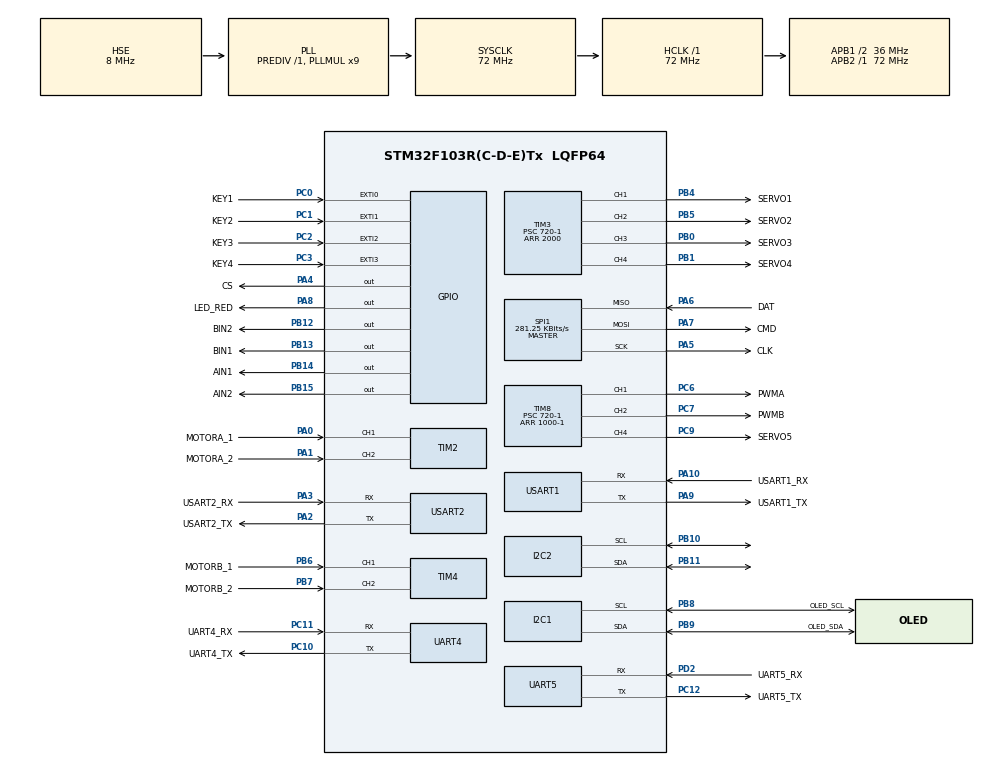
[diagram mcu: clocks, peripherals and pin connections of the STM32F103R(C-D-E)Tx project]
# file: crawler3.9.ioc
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Mcu.Family=STM32F1
Mcu.Name=STM32F103R(C-D-E)Tx
Mcu.Package=LQFP64
NVIC.PriorityGroup=NVIC_PRIORITYGROUP_4
NVIC.TIM1_TRG_COM_IRQn=true\:0\:0\:false\:false\:true\:true\:true\:true
NVIC.TIM1_UP_IRQn=true\:0\:0\:false\:false\:true\:true\:true\:true
NVIC.TIM2_IRQn=true\:0\:0\:false\:false\:true\:true\:true\:true
NVIC.TIM3_IRQn=true\:0\:0\:false\:false\:true\:true\:true\:true
NVIC.TIM4_IRQn=true\:0\:0\:false\:false\:true\:true\:true\:true
NVIC.TIM8_TRG_COM_IRQn=true\:0\:0\:false\:false\:true\:true\:true\:true
NVIC.TIM8_UP_IRQn=true\:0\:0\:false\:false\:true\:true\:true\:true
NVIC.USART1_IRQn=true\:0\:0\:false\:false\:true\:true\:true\:true
PA0-WKUP.GPIO_Label=MOTORA_1
PA0-WKUP.GPIO_PuPd=GPIO_PULLUP
PA0-WKUP.Signal=S_TIM2_CH1_ETR
PA1.GPIO_Label=MOTORA_2
PA1.GPIO_PuPd=GPIO_PULLUP
PA1.Signal=S_TIM2_CH2
PA10.GPIO_Label=USART1_RX
PA10.Mode=Asynchronous
PA10.Signal=USART1_RX
PA13.Mode=Serial_Wire
PA13.Signal=SYS_JTMS-SWDIO
PA14.Mode=Serial_Wire
PA14.Signal=SYS_JTCK-SWCLK
PA2.GPIO_Label=USART2_TX
PA2.Mode=Asynchronous
PA2.Signal=USART2_TX
PA3.GPIO_Label=USART2_RX
PA3.Mode=Asynchronous
PA3.Signal=USART2_RX
PA4.GPIO_Label=CS
PA4.Signal=GPIO_Output
PA5.GPIO_Label=CLK
PA5.Mode=Full_Duplex_Master
PA5.Signal=SPI1_SCK
PA6.GPIO_Label=DAT
PA6.Mode=Full_Duplex_Master
PA6.Signal=SPI1_MISO
PA7.GPIO_Label=CMD
PA7.Mode=Full_Duplex_Master
PA7.Signal=SPI1_MOSI
PA8.GPIO_Label=LED_RED
PA8.Signal=GPIO_Output
PA9.GPIO_Label=USART1_TX
PA9.Mode=Asynchronous
PA9.Signal=USART1_TX
PB0.GPIO_Label=SERVO3
PB0.Signal=S_TIM3_CH3
PB1.GPIO_Label=SERVO4
PB1.Signal=S_TIM3_CH4
PB10.Mode=I2C
PB10.Signal=I2C2_SCL
PB11.Mode=I2C
PB11.Signal=I2C2_SDA
PB12.GPIO_Label=BIN2
PB12.Signal=GPIO_Output
PB13.GPIO_Label=BIN1
PB13.Signal=GPIO_Output
PB14.GPIO_Label=AIN1
PB14.Signal=GPIO_Output
PB15.GPIO_Label=AIN2
PB15.Signal=GPIO_Output
PB4.GPIO_Label=SERVO1
PB4.Signal=S_TIM3_CH1
PB5.GPIO_Label=SERVO2
PB5.Signal=S_TIM3_CH2
PB6.GPIO_Label=MOTORB_1
PB6.GPIO_PuPd=GPIO_PULLUP
PB6.Signal=S_TIM4_CH1
PB7.GPIO_Label=MOTORB_2
PB7.GPIO_PuPd=GPIO_PULLUP
PB7.Signal=S_TIM4_CH2
PB8.GPIO_Label=OLED_SCL
PB8.Mode=I2C
PB8.Signal=I2C1_SCL
PB9.GPIO_Label=OLED_SDA
PB9.Mode=I2C
PB9.Signal=I2C1_SDA
PC0.GPIO_Label=KEY1
PC0.GPIO_PuPd=GPIO_PULLUP
PC0.Signal=GPXTI0
PC1.GPIO_Label=KEY2
PC1.GPIO_ModeDefaultEXTI=GPIO_MODE_IT_RISING
PC1.GPIO_PuPd=GPIO_PULLUP
PC1.Signal=GPXTI1
PC10.GPIO_Label=UART4_TX
PC10.Mode=Asynchronous
PC10.Signal=UART4_TX
PC11.GPIO_Label=UART4_RX
PC11.Mode=Asynchronous
PC11.Signal=UART4_RX
PC12.GPIO_Label=UART5_TX
PC12.Mode=Asynchronous
PC12.Signal=UART5_TX
PC2.GPIO_Label=KEY3
PC2.GPIO_PuPd=GPIO_PULLUP
PC2.Signal=GPXTI2
PC3.GPIO_Label=KEY4
PC3.GPIO_PuPd=GPIO_PULLUP
PC3.Signal=GPXTI3
PC6.GPIO_Label=PWMA
PC6.Signal=S_TIM8_CH1
PC7.GPIO_Label=PWMB
PC7.Signal=S_TIM8_CH2
PC9.GPIO_Label=SERVO5
PC9.Signal=S_TIM8_CH4
PD0-OSC_IN.Mode=HSE-External-Oscillator
PD0-OSC_IN.Signal=RCC_OSC_IN
PD1-OSC_OUT.Mode=HSE-External-Oscillator
PD1-OSC_OUT.Signal=RCC_OSC_OUT
PD2.GPIO_Label=UART5_RX
PD2.Mode=Asynchronous
PD2.Signal=UART5_RX
ProjectManager.HeapSize=0x200
ProjectManager.StackSize=0x400
ProjectManager.TargetToolchain=MDK-ARM V5.32
RCC.AHBFreq_Value=72000000
RCC.APB1CLKDivider=RCC_HCLK_DIV2
RCC.APB1Freq_Value=36000000
RCC.APB1TimFreq_Value=72000000
RCC.APB2Freq_Value=72000000
RCC.APB2TimFreq_Value=72000000
RCC.HCLKFreq_Value=72000000
RCC.PLLMUL=RCC_PLL_MUL9
RCC.PLLSourceVirtual=RCC_PLLSOURCE_HSE
RCC.SYSCLKFreq_VALUE=72000000
RCC.SYSCLKSource=RCC_SYSCLKSOURCE_PLLCLK
RCC.USBFreq_Value=72000000
SH.S_TIM2_CH1_ETR.0=TIM2_CH1,Encoder_Interface
SH.S_TIM2_CH2.0=TIM2_CH2,Encoder_Interface
SH.S_TIM3_CH1.0=TIM3_CH1,PWM Generation1 CH1
SH.S_TIM3_CH2.0=TIM3_CH2,PWM Generation2 CH2
SH.S_TIM3_CH3.0=TIM3_CH3,PWM Generation3 CH3
SH.S_TIM3_CH4.0=TIM3_CH4,PWM Generation4 CH4
SH.S_TIM4_CH1.0=TIM4_CH1,Encoder_Interface
SH.S_TIM4_CH2.0=TIM4_CH2,Encoder_Interface
SH.S_TIM8_CH1.0=TIM8_CH1,PWM Generation1 CH1
SH.S_TIM8_CH2.0=TIM8_CH2,PWM Generation2 CH2
SH.S_TIM8_CH4.0=TIM8_CH4,PWM Generation4 CH4
SPI1.BaudRatePrescaler=SPI_BAUDRATEPRESCALER_256
SPI1.CLKPolarity=SPI_POLARITY_HIGH
SPI1.CalculateBaudRate=281.25 KBits/s
SPI1.Direction=SPI_DIRECTION_2LINES
SPI1.FirstBit=SPI_FIRSTBIT_LSB
SPI1.Mode=SPI_MODE_MASTER
SPI1.VirtualType=VM_MASTER
TIM1.Period=1000
TIM1.Prescaler=72-1
TIM3.Channel-PWM\ Generation1\ CH1=TIM_CHANNEL_1
TIM3.Channel-PWM\ Generation2\ CH2=TIM_CHANNEL_2
TIM3.Channel-PWM\ Generation3\ CH3=TIM_CHANNEL_3
TIM3.Channel-PWM\ Generation4\ CH4=TIM_CHANNEL_4
TIM3.Period=2000
TIM3.Prescaler=720-1
TIM8.Channel-PWM\ Generation1\ CH1=TIM_CHANNEL_1
TIM8.Channel-PWM\ Generation2\ CH2=TIM_CHANNEL_2
TIM8.Channel-PWM\ Generation4\ CH4=TIM_CHANNEL_4
TIM8.Period=1000-1
TIM8.Prescaler=720-1
UART4.VirtualMode=Asynchronous
UART5.VirtualMode=Asynchronous
USART1.VirtualMode=VM_ASYNC
USART2.VirtualMode=VM_ASYNC
VP_TIM1_VS_ClockSourceINT.Mode=Internal
VP_TIM3_VS_ClockSourceINT.Mode=Internal
VP_TIM8_VS_ClockSourceINT.Mode=Internal
board=custom

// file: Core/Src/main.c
/* USER CODE BEGIN Header */
/**
  ******************************************************************************
  * @file           : main.c
  * @brief          : Main program body
  ******************************************************************************
  * @attention
  *
  * Copyright (c) 2024 STMicroelectronics.
  * All rights reserved.
  *
  * This software is licensed under terms that can be found in the LICENSE file
  * in the root directory of this software component.
  * If no LICENSE file comes with this software, it is provided AS-IS.
  *
  ******************************************************************************
  */
/* USER CODE END Header */
#include "main.h"
#include "i2c.h"
#include "spi.h"
#include "tim.h"
#include "usart.h"
#include "gpio.h"

void SystemClock_Config(void);

int main(void)
{

  /* MCU Configuration--------------------------------------------------------*/

  /* Reset of all peripherals, Initializes the Flash interface and the Systick. */
  HAL_Init();

  /* Configure the system clock */
  SystemClock_Config();

  /* USER CODE BEGIN SysInit */
//	int alg_Set[3] = {45,-25,0};
	int alg_Set[3] = {-145,200,0};
  /* USER CODE END SysInit */

  /* Initialize all configured peripherals */
  MX_GPIO_Init();
  MX_I2C1_Init();
  MX_SPI1_Init();
  MX_TIM1_Init();
  MX_TIM2_Init();
  MX_TIM3_Init();
  MX_TIM4_Init();
  MX_UART4_Init();
  MX_UART5_Init();
  MX_USART1_UART_Init();
  MX_USART2_UART_Init();
  MX_TIM8_Init();
  MX_I2C2_Init();
  /* USER CODE BEGIN 2 */
	HAL_TIM_Encoder_Start(&htim2, TIM_CHANNEL_ALL);
	HAL_TIM_Encoder_Start(&htim4, TIM_CHANNEL_ALL);

	OLED_Init();  //初始化OLED
	usart1_Init();
//KEY_EXIT_Init();											//板子设计问题

	PID_Param_Init();
//	alg_Init();

	PCA_MG9XX_Init(60,90);
	alg_set_move_action(alg_Set);

  /* USER CODE END 2 */

  /* Infinite loop */
  /* USER CODE BEGIN WHILE */
//	OLED_ShowString(1, 1, "1HelloWorld!");
	printf("HelloWorld\r\n");
  while (1)
  {
		PS2Data();
		OLED_ShowString(3,1,"LX:     LY:");
		OLED_ShowString(4,1,"RX:     RY:");
		OLED_ShowSignedNum(3,4,COORD.LeftX,4);
		OLED_ShowSignedNum(3,12,COORD.LeftY,4);
		OLED_ShowSignedNum(4,4,COORD.RightX,4);
		OLED_ShowSignedNum(4,12,COORD.RightY,4);
//		Servo4_SetAngle(90);
//		Servo2_SetAngle(90);
//		Servo3_SetAngle(180);

//		PCA_MG9XX(0,90);
//		PCA_MG9XX(1,90);
//		PCA_MG9XX(2,180);

		int accel,direc;
		switch(MODE.MODEFLAT)
		{
			case(0):HAL_TIM_Base_Stop(&htim1);
							stop();
							break;
			case(1):HAL_TIM_Base_Stop(&htim1);
							stop();
							alg_move_run();
//							yoloServo();
							break;
			case(2):PS2Servo();
							break;
			case(3)://motor_speed(-150,-150);
							HAL_TIM_Base_Start_IT(&htim1);                  //开启定时器的中断
							accel = COORD.RightY/4;
							direc = COORD.RightX/5;
							PID.MotorA_Velocity_Target_Val=-accel+direc;
							PID.MotorB_Velocity_Target_Val=-accel-direc;
							break;
			case(4):
//							PCA_MG9XX(0,90);
//							PCA_MG9XX(1,90);
//							PCA_MG9XX(2,180);
				alg_set_move_action(alg_Set);
							inverse_operation(-145,200,0);
							alg_move_run();
							break;
			case(5):HAL_TIM_Base_Stop(&htim1);
							stop();
							break;
			case(6):HAL_TIM_Base_Start_IT(&htim1);                  //开启定时器的中断
							step_run();
							break;
		}
    /* USER CODE END WHILE */

  }
}

void SystemClock_Config(void)
{
  RCC_OscInitTypeDef RCC_OscInitStruct = {0};
  RCC_ClkInitTypeDef RCC_ClkInitStruct = {0};

  /** Initializes the RCC Oscillators according to the specified parameters
  * in the RCC_OscInitTypeDef structure.
  */
  RCC_OscInitStruct.OscillatorType = RCC_OSCILLATORTYPE_HSE;
  RCC_OscInitStruct.HSEState = RCC_HSE_ON;
  RCC_OscInitStruct.HSEPredivValue = RCC_HSE_PREDIV_DIV1;
  RCC_OscInitStruct.HSIState = RCC_HSI_ON;
  RCC_OscInitStruct.PLL.PLLState = RCC_PLL_ON;
  RCC_OscInitStruct.PLL.PLLSource = RCC_PLLSOURCE_HSE;
  RCC_OscInitStruct.PLL.PLLMUL = RCC_PLL_MUL9;
  if (HAL_RCC_OscConfig(&RCC_OscInitStruct) != HAL_OK)
  {
    Error_Handler();
  }

  /** Initializes the CPU, AHB and APB buses clocks
  */
  RCC_ClkInitStruct.ClockType = RCC_CLOCKTYPE_HCLK|RCC_CLOCKTYPE_SYSCLK
                              |RCC_CLOCKTYPE_PCLK1|RCC_CLOCKTYPE_PCLK2;
  RCC_ClkInitStruct.SYSCLKSource = RCC_SYSCLKSOURCE_PLLCLK;
  RCC_ClkInitStruct.AHBCLKDivider = RCC_SYSCLK_DIV1;
  RCC_ClkInitStruct.APB1CLKDivider = RCC_HCLK_DIV2;
  RCC_ClkInitStruct.APB2CLKDivider = RCC_HCLK_DIV1;

  if (HAL_RCC_ClockConfig(&RCC_ClkInitStruct, FLASH_LATENCY_2) != HAL_OK)
  {
    Error_Handler();
  }
}

/* USER CODE BEGIN 4 */
KEY KEY_t;

void HAL_GPIO_EXTI_Callback(uint16_t GPIO_Pin)
{
    if(GPIO_Pin == KEY1_Pin)
    {
				KEY_t.KEY1_val = KEY1_Read;
				printf("KEY1");
				OLED_ShowString(2, 1, "KEY1!");
//        motor_speed(0,0);
    }
    else if(GPIO_Pin == KEY2_Pin)
    {
        KEY_t.KEY2_val = KEY2_Read;
    }
    else if(GPIO_Pin == KEY3_Pin)
    {
        KEY_t.KEY3_val = KEY3_Read;
    }
		else if(GPIO_Pin == KEY4_Pin)
    {
        KEY_t.KEY4_val = KEY4_Read;
    }
}
/* USER CODE END 4 */

void Error_Handler(void)
{
  __disable_irq();
  while (1)
  {
  }
}
